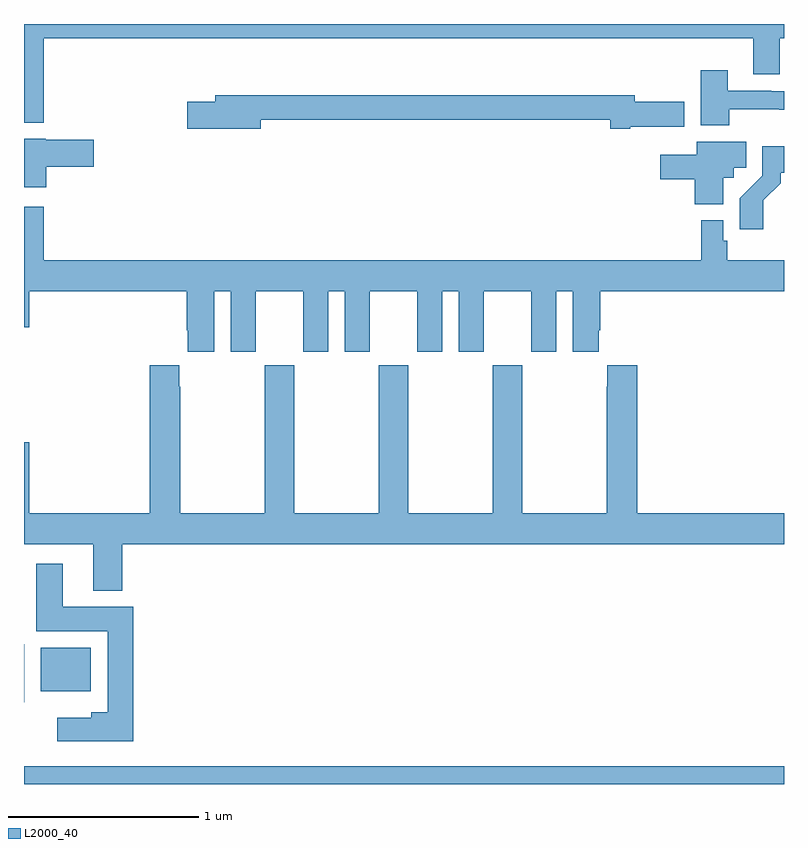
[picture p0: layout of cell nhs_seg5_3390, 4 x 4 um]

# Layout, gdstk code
import gdstk
lib = gdstk.Library(unit=1e-6, precision=1e-09)
def R(c, l, rs):  # rectangles x0, y0, x1, y1
    for r in rs: c.add(gdstk.rectangle(r[:2], r[2:], *l))
def P(c, l, *ps):  # polygons
    for p in ps: c.add(gdstk.Polygon(p, *l))
L2000_40 = (2000, 40)

nhs_seg5_3390 = lib.new_cell('nhs_seg5_3390')
R(nhs_seg5_3390, L2000_40, [(309,888.799,313,888.892), (309,889.229,309.001,889.534), (309.089,889.286,309.352,889.516)])
P(nhs_seg5_3390, L2000_40, [(309.103,892.724),(312.839,892.724),(312.839,892.534),(312.978,892.534),(312.978,892.724),(313,892.724),(313,892.799),(309,892.799),(309,892.28),(309.103,892.28)],
  [(312.711,892.35),(312.974,892.35),(312.974,892.349),(313,892.349),(313,892.446),(312.932,892.446),(312.932,892.449),(312.703,892.449),(312.703,892.555),(312.563,892.555),(312.563,892.265),(312.711,892.265)],
  [(310.246,892.294),(312.086,892.294),(312.086,892.247),(312.19,892.247),(312.19,892.259),(312.475,892.259),(312.475,892.389),(312.214,892.389),(312.214,892.423),(310.007,892.423),(310.007,892.389),(309.858,892.389),(309.858,892.247),(310.246,892.247)],
  [(309.118,892.048),(309.367,892.048),(309.367,892.19),(309.114,892.19),(309.114,892.195),(309,892.195),(309,891.941),(309.118,891.941)],
  [(312.679,891.99),(312.735,891.99),(312.735,892.042),(312.8,892.042),(312.8,892.18),(312.542,892.18),(312.542,892.111),(312.348,892.111),(312.348,891.982),(312.53,891.982),(312.53,891.851),(312.679,891.851)],
  [(312.892,891.871),(312.982,891.961),(312.982,892.016),(313,892.016),(313,892.156),(312.885,892.156),(312.885,892.001),(312.766,891.882),(312.766,891.72),(312.892,891.72)],
  [(313,891.556),(312.701,891.556),(312.701,891.657),(312.681,891.657),(312.681,891.766),(312.565,891.766),(312.565,891.556),(309.103,891.556),(309.103,891.838),(309,891.838),(309,891.204),(309.028,891.204),(309.028,891.392),(309.857,891.392),(309.857,891.187),(309.863,891.187),(309.863,891.075),(310,891.075),(310,891.392),(310.088,891.392),(310.088,891.075),(310.219,891.075),(310.219,891.392),(310.469,891.392),(310.469,891.075),(310.6,891.075),(310.6,891.392),(310.688,891.392),(310.688,891.075),(310.819,891.075),(310.819,891.392),(311.069,891.392),(311.069,891.075),(311.2,891.075),(311.2,891.392),(311.288,891.392),(311.288,891.075),(311.419,891.075),(311.419,891.392),(311.669,891.392),(311.669,891.075),(311.8,891.075),(311.8,891.392),(311.888,891.392),(311.888,891.075),(312.025,891.075),(312.025,891.187),(312.032,891.187),(312.032,891.392),(313,891.392)],
  [(309.518,890.06),(313,890.06),(313,890.224),(312.227,890.224),(312.227,891.004),(312.071,891.004),(312.071,890.891),(312.067,890.891),(312.067,890.224),(311.622,890.224),(311.622,891.004),(311.467,891.004),(311.467,890.224),(311.022,890.224),(311.022,891.004),(310.867,891.004),(310.867,890.224),(310.422,890.224),(310.422,891.004),(310.267,891.004),(310.267,890.224),(309.822,890.224),(309.822,890.891),(309.817,890.891),(309.817,891.004),(309.662,891.004),(309.662,890.224),(309.028,890.224),(309.028,890.599),(309,890.599),(309,890.06),(309.365,890.06),(309.365,889.817),(309.518,889.817)],
  [(309.575,889.732),(309.205,889.732),(309.205,889.957),(309.065,889.957),(309.065,889.604),(309.44,889.604),(309.44,889.177),(309.353,889.177),(309.353,889.147),(309.174,889.147),(309.174,889.025),(309.575,889.025)])

lib.write_gds('nhs_seg5_3390.gds')
